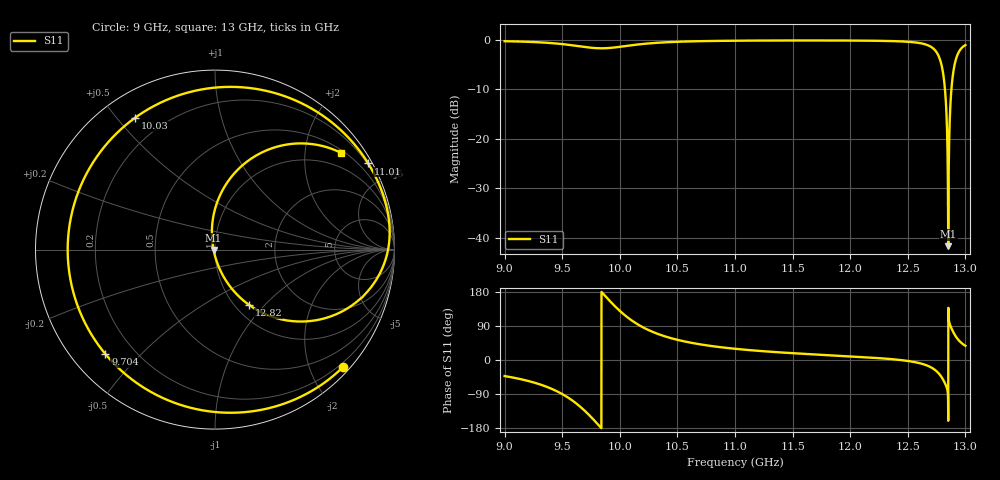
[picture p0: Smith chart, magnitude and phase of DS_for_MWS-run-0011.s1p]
! TOUCHSTONE file generated by CST DESIGN STUDIO
! Date and time: Wed Feb  5 13:32:24 2025
! Project name: C:\Work\MatlabApps\UnitCellOptimizationMatlab\CST\unitcell.cst
! Tree item: Tasks\Sweep1\SPara1\S-Parameters
! Header version: 2024
! Port assignment regex: !\s*Touchstone port\s*([0-9]+)\s*=\s*(CST MWS port|CST DES external port|CST DES block port)\s*(.+)\s* \(\"(.*)\"\)(\s*mode\s*([0-9]+))?.*
! Touchstone port assignment:
! Touchstone port 1 = CST DES external port 1 ("")
# GHz S MA R 50
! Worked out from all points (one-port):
!   4001 points, 9 GHz to 13 GHz, reference 50 ohm
!   lowest |S11| = -41.7 dB at 12.85 GHz (marker M1), VSWR 1.02, Z = 49.2 - j0.27 ohm
!   |S11| at or under -10 dB: 12.82261 GHz to 12.87864 GHz (56.03 MHz wide, 0.436 % of centre)
!   S11 on the Smith chart (normalised r, x): 9 GHz: 0.12, -2.58; 9.704 GHz: 0.10, -0.40; 10.03 GHz: 0.10, +0.56; 11.01 GHz: 0.16, +3.81; 12.82 GHz: 1.16, -0.82; 13 GHz: 0.57, +2.84
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9  0.968 -42.4
9.278  0.9465 -61.6
9.5  0.9051 -89.9
9.608  0.8736 -111.4
9.704  0.8436 -136.4
9.781  0.8258 -160.3
9.849  0.8209 177.0
9.918  0.8283 154.2
10  0.8492 129.6
10.031  0.8588 121.3
10.202  0.9084 86.1
10.342  0.9361 67.5
10.5  0.9553 53.2
11  0.9793 29.6
11.008  0.9794 29.4
11.5  0.9848 18.0
12  0.9828 9.6
12.5  0.9552 -2.5
12.709  0.8381 -20.6
12.779  0.6337 -39.2
12.818  0.3603 -58.5
12.837  0.1644 -71.9
12.851  0.008177 -160.4
12.865  0.1648 94.4
12.884  0.3709 80.3
12.904  0.5443 68.4
12.94  0.7426 52.7
13  0.8845 37.6
